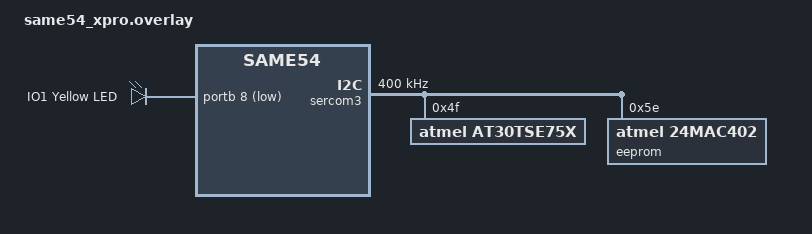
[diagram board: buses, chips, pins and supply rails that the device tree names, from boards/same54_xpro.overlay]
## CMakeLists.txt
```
cmake_minimum_required(VERSION 3.13.1)
find_package(Zephyr REQUIRED HINTS $ENV{ZEPHYR_BASE})
project(app LANGUAGES C)
zephyr_include_directories(${CMAKE_SOURCE_DIR}/../include)
target_sources(app PRIVATE src/main.c src/resources.c)

# Tell Zephyr to use our linker section file
zephyr_linker_sources(SECTIONS sections-rom.ld)
#zephyr_linker_sources(SECTIONS sections-html.ld)

message(STATUS "CMAKE_CURRENT_BINARY_DIR = ${CMAKE_CURRENT_BINARY_DIR}, CMAKE_C_COMPILER = ${CMAKE_C_COMPILER} ,CMAKE_SOURCE_DIR = ${CMAKE_SOURCE_DIR}")

# Path to the HTML file
# set(INDEX_HTML ${CMAKE_SOURCE_DIR}/static/index.html)
# set(INDEX_HTML_OBJ ${CMAKE_CURRENT_BINARY_DIR}/index_html.o)

# Convert HTML to an object file
# add_custom_command(
#     OUTPUT ${INDEX_HTML_OBJ}
#     COMMAND ${CMAKE_OBJCOPY} --input-target=binary --output-target=elf32-littlearm --binary-architecture=arm
#         --rename-section .data=.rodata.index_html
#         ${INDEX_HTML} ${INDEX_HTML_OBJ}
# 
#     DEPENDS ${INDEX_HTML}
# )

# Link the object file into the final app
# target_sources(app PRIVATE ${INDEX_HTML_OBJ})
```

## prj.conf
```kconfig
#CONFIG_LTO=n

#I2C configs
CONFIG_I2C=y
CONFIG_I2C_SAM0=y

# Core networking stack
CONFIG_NETWORKING=y
CONFIG_NET_IPV4=y
CONFIG_NET_SOCKETS=y
CONFIG_NET_UDP=y   # Needed for ARP and some control traffic

CONFIG_NET_ARP=y #not required i  - ARP packet from PC rcvd even if disabled
#CONFIG_NET_DHCPV4=n #not required i think -  ARP packet from PC rcvd even if disabled

#HTTP
# HTTP server configs
CONFIG_HTTP_SERVER=y
CONFIG_NET_TCP=y
CONFIG_NET_CONTEXT_NET_PKT_POOL=y


# ICMPv4 (needed for ping)
#CONFIG_NET_ICMPV4=y doesnt exist
#CONFIG_NET_ICMPV4_ACCEPT_BROADCAST=y #-  ARP packet from PC rcvd even if disabled

# Ethernet driver
#CONFIG_NET_L2_ETHERNET=y           #if disabled multicast DNS are ignored by MCU -  ARP packet from PC rcvd even if disabled
#CONFIG_ETH_SAM_GMAC=y              # - ARP packet from PC rcvd even if disabled# SAME54's GMAC driver #/home/shikhar/customer-workspace/zephyr/boards/atmel/sam0/same54_xpro/Kconfig.defconfig

#enables a EEPROM driver connected by I2C which stores MAC address of SAME54 for use with ethernet interface
#CONFIG_ETH_SAM_GMAC_MAC_I2C_EEPROM=y - #from zephyr/drivers/ethernet

# Static IP configuration (adjust IP to match your host's subnet)
CONFIG_NET_CONFIG_SETTINGS=y
CONFIG_NET_CONFIG_AUTO_INIT=y
CONFIG_NET_CONFIG_NEED_IPV4=y
CONFIG_NET_CONFIG_MY_IPV4_ADDR="192.168.1.107"
CONFIG_NET_CONFIG_MY_IPV4_NETMASK="255.255.255.0"
CONFIG_NET_CONFIG_MY_IPV4_GW=""  # PREVIOUSLY= 192.168.1.1 ;Use your VM or router IP

# Required Zephyr network thread stacks
CONFIG_SYSTEM_WORKQUEUE_STACK_SIZE=2048
CONFIG_NET_TX_STACK_SIZE=2048
CONFIG_NET_RX_STACK_SIZE=2048
CONFIG_NET_MGMT_EVENT_STACK_SIZE=1536

# Debugging/logging (optional, helps during bring-up)
CONFIG_PRINTK=y
CONFIG_LOG=y
CONFIG_LOG_MODE_IMMEDIATE=y
CONFIG_NET_LOG=y
CONFIG_NET_IPV4_LOG_LEVEL_DBG=y
CONFIG_NET_ICMPV4_LOG_LEVEL_DBG=y
CONFIG_NET_ARP_LOG_LEVEL_DBG=y
CONFIG_ETHERNET_LOG_LEVEL_DBG=y

# Useful development/debug features
CONFIG_ASSERT=y
CONFIG_THREAD_NAME=y
CONFIG_THREAD_MONITOR=y
CONFIG_DEBUG_THREAD_INFO=y

# Optional: increase main thread stack (if you do manual socket stuff later)
CONFIG_MAIN_STACK_SIZE=4096


#analyzing stack usage
CONFIG_THREAD_ANALYZER=y
CONFIG_THREAD_ANALYZER_USE_PRINTK=y
CONFIG_THREAD_ANALYZER_AUTO=y
#30 seconds
CONFIG_THREAD_ANALYZER_AUTO_INTERVAL=30  

#TCP work queue stack size incrreased from default 1024 to 2048
CONFIG_NET_TCP_WORKQ_STACK_SIZE=2048

CONFIG_HTTP_SERVER_KEEPALIVE=n
```

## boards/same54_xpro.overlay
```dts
//“I’m modifying an existing node by label”
&sercom7 {
  status = "disabled";
  compatible = "atmel,sam0-i2c";
   /delete-node/ eeprom@5e; // Remove the conflicting eeprom label
};

//“I’m modifying an existing node by label”
&pinctrl 
{
    sercom3_i2c_default: sercom3_i2c_default {
    group1 {
    pinmux = <PA22C_SERCOM3_PAD0>, /* SDA "C" is the function group "C"-datasheet pg32*/
            <PA23C_SERCOM3_PAD1>; /* SCL "C" is the function group "C"-datasheet pg32*/
            };
    };
};

//“I’m modifying an existing node by label”
/* Enable SERCOM3 as I2C, if not already enabled */
&sercom3 {
    status = "okay";
    compatible = "atmel,sam0-i2c";
    clock-frequency = <I2C_BITRATE_FAST>;
    #address-cells = <1>;
    #size-cells = <0>;
    pinctrl-0 = <&sercom3_i2c_default>;
    pinctrl-names = "default";//0th index i "default" if it was pinctrl-names = "default" ,"some state" 1st index would be "some state"
    
    at30tse75x: at30tse75x@4F
    {
        compatible = "atmel,at30tse75x";
        reg = <0x4F>;//4F I2C address//IO1 xplained PRO pg10
    };

    eeprom: eeprom@5e {
		compatible = "atmel,24mac402";//Zephyr sets DT_HAS_ATMEL_AT24MAC402_ENABLED=y
		reg = <0x5e>;
    };
};


//“I’m modifying or adding things at the root of the tree” so thats why --> / {}
/ {
    leds {
        compatible = "gpio-leds";
        io1_led: io1_led {
            gpios = <&portb 8 GPIO_ACTIVE_LOW>;
            label = "IO1 Yellow LED";
                };
        };


    aliases {
        io1-led = &io1_led;
        i2c-0 = &sercom3;
        };
};
```

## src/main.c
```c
#include <zephyr/kernel.h>
#include <zephyr/sys/printk.h>

#include <zephyr/drivers/gpio.h>
#include <zephyr/drivers/sensor.h>
#include <zephyr/drivers/i2c.h>

#include <zephyr/logging/log.h>

//#include <zephyr/device.h>
//#include <zephyr/devicetree.h>

#include <zephyr/net/net_if.h>
#include <zephyr/net/net_ip.h>
#include <zephyr/net/socket.h>
#include <zephyr/net/http/service.h>
#include <zephyr/net/http/server.h>
#include <zephyr/net/http/client.h>

#include <app/headers.h>

#define TEMP_SENSOR_I2C_ADDRESS 0x4F
#define EEPROM_MAC_I2C_ADDRESS  0x5E
#define TEMP_REG 0x00
#define MAC_REG  0x9A

LOG_MODULE_REGISTER(main);

#define PRIORITY 5
#define STACKSIZE 2048
#define THREAD_PRIORITY 7


//include the static HTML page which was converted from .html to C array using below command-->
//xxd -i static/index.html > src/index_html.inc
/*#include "index_html.inc"*/

////#include "index_html.h"


//extern const int my_http_resources_anchor;

static const struct gpio_dt_spec led = GPIO_DT_SPEC_GET(DT_ALIAS(io1_led),gpios);
const struct device *i2c_dev = DEVICE_DT_GET(DT_ALIAS(i2c_0));


HTTP_RESOURCE_DEFINE(index, my_http_service, "/", &index_resource_detail);
HTTP_RESOURCE_DEFINE(temp,  my_http_service, "/temp", &temp_resource_detail);

static uint16_t port = 8080;
HTTP_SERVICE_DEFINE(my_http_service,NULL,&port,1,4,NULL,NULL);/*Use HTTP_SERVICE_DEFINE() instead of HTTP_SERVICE_DEFINE_EMPTY() 
so that the service has a workqueue and can process requests, and ensure the resource list is linked.*/


int main(void)
{

    struct net_if *iface = net_if_get_default(); //get default ethernet interface
        
    char buf[NET_IPV4_ADDR_LEN];

    //print IP address of the board
    if (iface) {
        struct net_if_addr *if_addr = (struct net_if_addr*)(&iface->config.ip.ipv4->unicast[0]);
        printk("Assigned IP: %s",
                net_addr_ntop(AF_INET, &if_addr->address.in_addr, buf, sizeof(buf)));
    }
    else{
        while(1){printk("Fail!\n");}
    }

    //setting static MAC address of SAME54
    uint8_t mac[6] = { 0xDE, 0xAD, 0xBE, 0xEF, 0x00, 0x01 };
    net_if_set_link_addr(iface, mac, sizeof(mac), NET_LINK_ETHERNET);

    // bring ethernet interface up
    net_if_up(iface);        
    printk("Ethernet interface is up\n");

    struct net_if_addr *if_addr_1 = (struct net_if_addr*)(&iface->config.ip.ipv4->unicast[0]);
    printk("[UP]Assigned IP: %s",
                net_addr_ntop(AF_INET, &if_addr_1->address.in_addr, buf, sizeof(buf)));
    
    /*struct net_linkaddr *linkaddr = net_if_get_link_addr(iface);

    printk("[UP]MAC from iface: %02X:%02X:%02X:%02X:%02X:%02X\n",
       linkaddr->addr[0], linkaddr->addr[1], linkaddr->addr[2],
       linkaddr->addr[3], linkaddr->addr[4], linkaddr->addr[5]);*/
  
    printk("I2C dev: %p\n", i2c_dev);
    printk("dev name: %s\n", i2c_dev->name);

    if(!gpio_is_ready_dt(&led))
    {
        printk("IO1 board LED not ready\n");
        return -1;
    }

    gpio_pin_configure_dt(&led, GPIO_OUTPUT_INACTIVE);
    gpio_pin_set_dt(&led, 1);   

    if(!(device_is_ready(i2c_dev)))
    {
        printk("I2C module not ready!");
        return -1;
    }

    printk("Scanning I2C bus!\n");

    for(uint8_t addr = 0x3;addr <= 0x77;addr++)
    {
        struct i2c_msg msgs[1];
        uint8_t dummy;

        msgs[0].buf = &dummy;
        msgs[0].len = 1;
        msgs[0].flags = I2C_MSG_READ | I2C_MSG_STOP;

        if(i2c_transfer(i2c_dev, &msgs[0], 1, addr) == 0)
        {
            printk("Found device at 0x%02X\n",addr);
        }
    }

    //dummy write
    /*{
        struct i2c_msg msgs[1];
        uint8_t dummy = 0x9A;

        msgs[0].buf = &dummy;
        msgs[0].len = 1;
        msgs[0].flags = I2C_MSG_WRITE | I2C_MSG_RESTART;

        if(i2c_transfer(i2c_dev, &msgs[0], 1, 0x5E) == 0)
        {
            printk("Dummy write complete!");
        }
        else
        {
            printk("Dummy write failed!");
        }
    }

    //MAC address read operation
    {
        uint8_t raw_mac[6];
        if(i2c_burst_read(i2c_dev,(uint16_t)(0x5E),(uint8_t)(0x9A),raw_mac,6) == 0)
        {
            printk("MAC address:%02X:%02X:%02X:%02X:%02X:%02X\n",raw_mac[0],raw_mac[1],
            raw_mac[2],raw_mac[3],raw_mac[4],raw_mac[5]);
        }
        else
        {
            printk("MAC address read failed!");
        }
    }*/

    /*uint8_t dummy[1] = {0x9A};
    uint8_t raw_mac[6];
    if(i2c_write_read(i2c_dev, 94,dummy, 1,raw_mac, 6) == 0)
    {
        printk("MAC address:%02X:%02X:%02X:%02X:%02X:%02X\n",raw_mac[0],raw_mac[1],
            raw_mac[2],raw_mac[3],raw_mac[4],raw_mac[5]);
    }
    else
    {
        printk("MAC address read failed!\n");
    }*/

    int ret = http_server_start();
    if (ret < 0) {
        LOG_ERR("HTTP server failed to start: %d", ret);
    } else {
        LOG_INF("HTTP server started on port %d", port);
        //http_service_enable(&my_http_service);
    }



    while(1)
    {
        uint8_t raw_temp[2];
        int ret;

        ret = i2c_burst_read(i2c_dev,TEMP_SENSOR_I2C_ADDRESS,TEMP_REG,raw_temp,2);
        if(ret != 0)
        {
            printk("I2C temperature read failed! %d\n",ret);
            k_sleep(K_MSEC(200));
            continue;
        }

        printk("I2C read succeeded \nraw_temp[0], = %u\nraw_temp[1] = %u\n",raw_temp[0],raw_temp[1]);
        
        uint16_t temp_val = (((uint16_t)raw_temp[0] << 8) | ((uint16_t)raw_temp[1]));
        int16_t temp_code = temp_val >> 7;
        
        //if temp is negative
        if((temp_code & (1 << 8)))
        {
            //temp_code &= ~(1 << 8);//unset 8th bit
            //temp_code = ~(temp_code) + 1;//2s complement of the positive value
            temp_code |= ~((1 << 9) - 1);
        }

        temp_c = temp_code * 0.5f;//9-bit resolution 0.5C change

        printk("Temp: %d C\n", temp_c);
        

        k_sleep(K_SECONDS(1));
    }
}


//K_THREAD_STACK_DEFINE(my_http_stack, 4096);
//static struct k_work_q my_http_workq;

/*k_work_queue_start(&my_http_workq, my_http_stack,
                       K_THREAD_STACK_SIZEOF(my_http_stack),
                       PRIORITY, NULL);*/

//extern const struct http_resource_desc _http_resource_desc_my_http_service_list_start[];
//index_html_len = (size_t)(_binary_app_static_index_html_end - _binary_app_static_index_html_start);
//index_resource_detail.static_data = _binary_app_static_index_html_start;
//index_resource_detail.static_data_len = index_html_len;

// Declare the linker symbols (defined in your sections-html.ld)
/*extern const unsigned char _binary_app_static_index_html_start[];
extern const unsigned char _binary_app_static_index_html_end[];*/

/*#define index_html      _binary_app_static_index_html_start
#define index_html_len   (_binary_app_static_index_html_end - _binary_app_static_index_html_start)*/


//static size_t index_html_len;

/*HTTP_SERVICE_DEFINE_EMPTY(my_http_service,NULL, &port, 1, 4, NULL, NULL);*/
/*HTTP_SERVICE_DEFINE(my_http_service, NULL, &port, 1, 4,
                    &my_http_workq, &my_http_stack);*/

//Assign static IP address and netmask
//net_if_ipv4_addr_add(iface, &ipaddr, NET_ADDR_MANUAL, 0);
//net_if_ipv4_set_netmask_by_addr(iface, &ipaddr, &netmask);

//static struct in_addr ipaddr = { { { 192, 168, 1, 100 } } };//IP address = 192.168.1.100
//static struct in_addr netmask = { { { 255, 255, 255, 0 } } };//netmask = 255.255.255.0

//(void)my_http_resources_anchor;

//configure_iface(iface);  // assign static IP
/*void configure_iface(struct net_if *iface)
{
    // (B) Assign static IP
    static struct in_addr ipaddr = { { { 192, 168, 1, 100 } } };
    static struct in_addr netmask = { { { 255, 255, 255, 0 } } };

    net_if_ipv4_addr_add(iface, &ipaddr, NET_ADDR_MANUAL, 0);
    net_if_ipv4_set_netmask_by_addr(iface, &ipaddr, &netmask);
}*/
```

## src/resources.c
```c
#include <zephyr/net/http/server.h>
#include <zephyr/net/http/service.h>

#include <app/headers.h>
#include <app/index_html.h>

#define MAX_BUF_LEN 256

static char response_buf[MAX_BUF_LEN];
int16_t temp_c = 0;
//const int my_http_resources_anchor __attribute__((used)) = 1;

/* HTTP response handler*/
/*Called every time a browser hits "/".
It responds with a simple webpage showing the temperature using http_response_body_set(). */
/* ========== HTTP Handler ========== */
/* HTTP Handler */
int temp_handler(struct http_client_ctx *client,
                        enum http_data_status status,
                        const struct http_request_ctx *req,
                        struct http_response_ctx *rsp,
                        void *user_data)
{
    sprintf(response_buf,"%dC\n",temp_c);
    //static const char *response = "Current temperature is 0C";
    rsp->status = 200; // HTTP 200 OK
    rsp->body = (const uint8_t *)response_buf;
    rsp->body_len = strlen(response_buf);
    rsp->final_chunk = true;
    return 0;
}

/*static*/ struct http_resource_detail_dynamic temp_resource_detail = {
    .common = {
        .bitmask_of_supported_http_methods = BIT(HTTP_GET),
        .type = HTTP_RESOURCE_TYPE_DYNAMIC,
        .path_len = sizeof("/temp") - 1,
        .content_encoding = NULL,
        .content_type = "text/plain",
    },
    .cb = temp_handler,
    .holder = NULL,
    .user_data = NULL,
};

/*********************************************************************************************/
//displays the static HTML page whenever resource "/" is accessed in the browser
/*static*/ struct http_resource_detail_static index_resource_detail = {
    .common = {
        .bitmask_of_supported_http_methods = BIT(HTTP_GET),
        .type = HTTP_RESOURCE_TYPE_STATIC,
        .path_len = sizeof("/") - 1,
        .content_encoding = NULL,
        .content_type = "text/html",
    },
    .static_data = index_html,
    .static_data_len = index_html_len,
};

/*********************************************************************************************/

//HTTP_RESOURCE_DEFINE(temp, my_http_service, "/temp", &temp_resource_detail);
```
